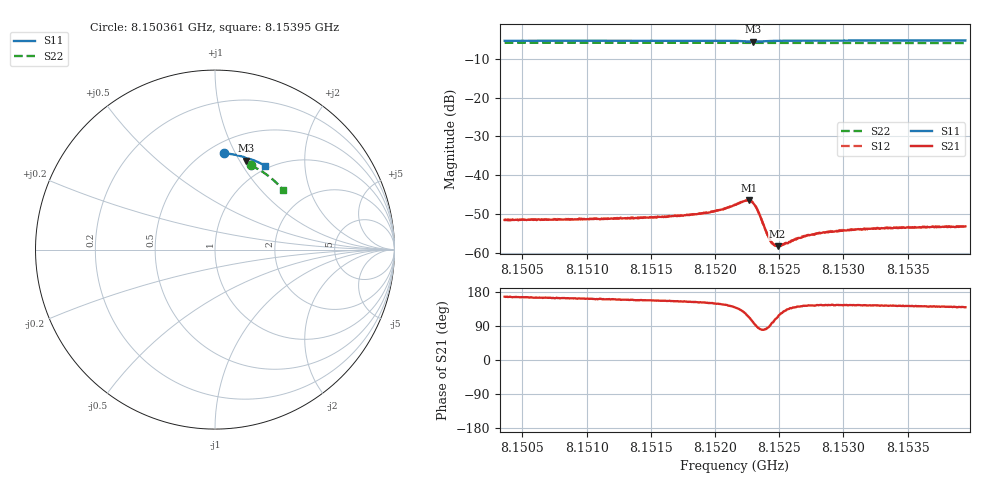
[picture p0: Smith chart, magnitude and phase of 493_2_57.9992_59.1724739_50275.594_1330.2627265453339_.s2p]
#  HZ  S  RI  R  50.00
! Rohde & Schwarz Vector Network Analyzer
! Rohde-Schwarz,ZNB20-2Port,1311601062101988,3.16
! Created: UTC 3/21/2024, 1:12:21 AM
! freq[Hz]  re:S11  im:S11  re:S21  im:S21  re:S12  im:S12  re:S22  im:S22
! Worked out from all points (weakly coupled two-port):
!   401 points, 8.150361 GHz to 8.15395 GHz, reference 50 ohm
!   highest |S21| = -46.48 dB at 8.152263 GHz (marker M1); lowest = -58.3 dB at 8.152487 GHz (marker M2)
!   lowest |S11| = -5.6 dB at 8.152299 GHz (marker M3), VSWR 3.21, Z = 39.1 + j53.4 ohm
!   |S11| at or under -10 dB: nowhere
!   |S22| runs from -6.0 to -5.9 dB; largest |S21 - S12| = 0.00013
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8.1503613e9  0.048 0.5365  -0.00258 0.000597  -0.00261 0.000667  0.1978 0.4696
8.1509623e9  0.0899 0.532  -0.00258 0.000837  -0.0026 0.00089  0.2325 0.4525
8.1515634e9  0.1317 0.5242  -0.00267 0.00116  -0.00265 0.00118  0.2654 0.433
8.1517338e9  0.1436 0.5212  -0.00273 0.00129  -0.0027 0.00136  0.2744 0.4268
8.1519402e9  0.1586 0.5165  -0.00287 0.0016  -0.0029 0.00165  0.2853 0.4192
8.1520478e9  0.1668 0.5133  -0.00302 0.00196  -0.00303 0.00199  0.2909 0.415
8.1521555e9  0.1752 0.5077  -0.00313 0.00273  -0.00311 0.00279  0.2963 0.4109
8.1522183e9  0.1788 0.502  -0.00282 0.00363  -0.0028 0.00369  0.2996 0.4083
8.1522631e9  0.1781 0.4967  -0.00188 0.00436  -0.00182 0.00441  0.3014 0.4066
8.152299e9  0.1745 0.495  -0.000612 0.00428  -0.000606 0.00435  0.303 0.4052
8.1523349e9  0.1718 0.4975  0.000301 0.00342  0.000329 0.00343  0.3046 0.4041
8.1523977e9  0.1744 0.5037  0.00027 0.00186  0.0003 0.00188  0.308 0.4019
8.1524246e9  0.177 0.5051  1.83e-05 0.0015  1.83e-05 0.00151  0.3093 0.4008
8.1524515e9  0.1796 0.5057  -0.000213 0.0013  -0.000229 0.00128  0.3106 0.3998
8.1524874e9  0.1831 0.506  -0.000476 0.00112  -0.000485 0.00113  0.3125 0.3983
8.1525143e9  0.1856 0.5059  -0.000681 0.00103  -0.000633 0.00106  0.3137 0.3973
8.1526489e9  0.1969 0.5038  -0.0012 0.000979  -0.00119 0.001  0.3204 0.3918
8.1527565e9  0.2048 0.5014  -0.0014 0.00101  -0.00141 0.00104  0.3255 0.3873
8.1528552e9  0.2117 0.4989  -0.00149 0.00105  -0.00147 0.00109  0.3303 0.3831
8.1529897e9  0.2208 0.4953  -0.00157 0.00111  -0.00161 0.00114  0.3365 0.3772
8.1533576e9  0.2447 0.4849  -0.00168 0.00125  -0.00167 0.00128  0.3532 0.361
8.1539496e9  0.2813 0.4658  -0.00166 0.00143  -0.00167 0.00144  0.378 0.3333
